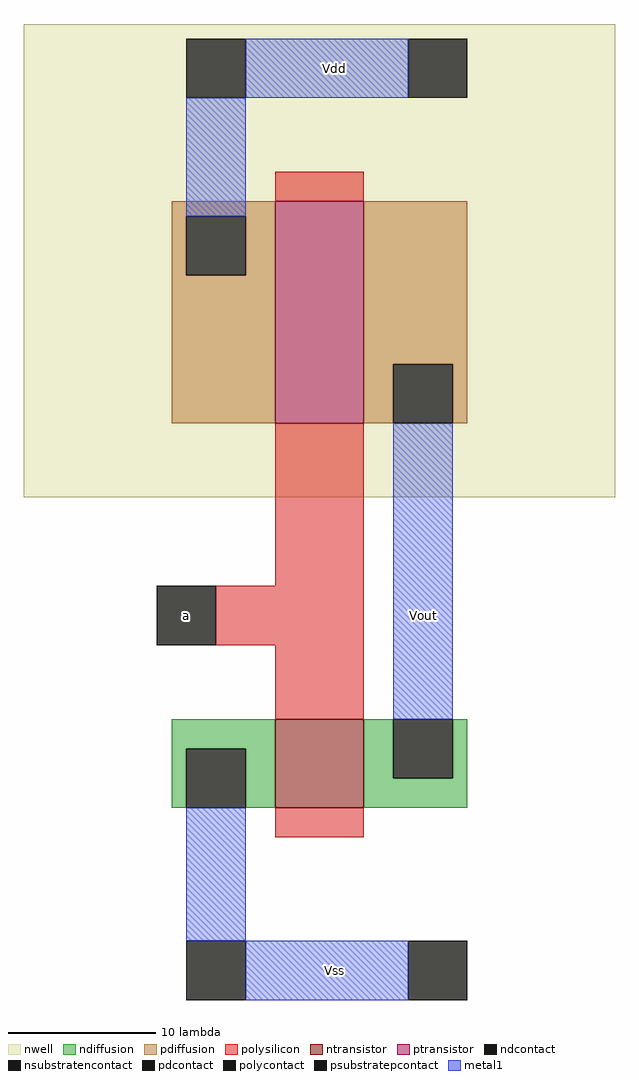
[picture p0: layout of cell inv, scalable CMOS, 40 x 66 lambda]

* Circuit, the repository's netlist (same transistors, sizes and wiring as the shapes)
* SPICE3 file created from inv.ext - technology: scmos
.include ./t14y_tsmc_025_level3.txt

.option scale=1u

M1000 Vout a Vdd Vdd cmosp w=15 l=6
M1001 Vout a Vss Gnd cmosn w=6 l=6


v_dd Vdd 0 5
v_ss Vss 0 0

v_in a 0 PULSE(0 5 0 0 0 10n 20n)



* Analysis
* Input Characteristics
.control
    tran 0.1n 40n
    setplot tran1
    plot Vout a
.endc
.end

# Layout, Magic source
magic
tech scmos
<< nwell >>
rect -18 -5 22 27
<< polysilicon >>
rect -1 15 5 17
rect -1 -11 5 0
rect -5 -15 5 -11
rect -1 -20 5 -15
rect -1 -28 5 -26
<< ndiffusion >>
rect -8 -22 -1 -20
rect -8 -26 -7 -22
rect -3 -26 -1 -22
rect 5 -24 7 -20
rect 11 -24 12 -20
rect 5 -26 12 -24
<< pdiffusion >>
rect -8 14 -1 15
rect -8 10 -7 14
rect -3 10 -1 14
rect -8 0 -1 10
rect 5 4 12 15
rect 5 0 7 4
rect 11 0 12 4
<< metal1 >>
rect -3 22 8 26
rect -7 14 -3 22
rect 7 -20 11 0
rect -7 -35 -3 -26
rect -3 -39 8 -35
<< ntransistor >>
rect -1 -26 5 -20
<< ptransistor >>
rect -1 0 5 15
<< polycontact >>
rect -9 -15 -5 -11
<< ndcontact >>
rect -7 -26 -3 -22
rect 7 -24 11 -20
<< pdcontact >>
rect -7 10 -3 14
rect 7 0 11 4
<< psubstratepcontact >>
rect -7 -39 -3 -35
rect 8 -39 12 -35
<< nsubstratencontact >>
rect -7 22 -3 26
rect 8 22 12 26
<< labels >>
rlabel metal1 3 24 3 24 5 Vdd
rlabel metal1 9 -13 9 -13 1 Vout
rlabel polycontact -7 -13 -7 -13 1 a
rlabel metal1 3 -37 3 -37 1 Vss
<< end >>
